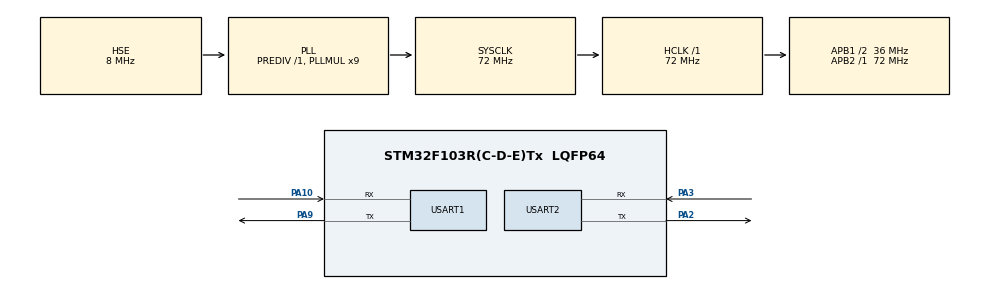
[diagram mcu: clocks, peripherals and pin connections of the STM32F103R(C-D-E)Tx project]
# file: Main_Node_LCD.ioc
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IWDG.Prescaler=IWDG_PRESCALER_256
IWDG.Reload=625
Mcu.Family=STM32F1
Mcu.Name=STM32F103R(C-D-E)Tx
Mcu.Package=LQFP64
NVIC.PriorityGroup=NVIC_PRIORITYGROUP_4
NVIC.RTC_Alarm_IRQn=true\:0\:0\:false\:false\:true\:true\:true\:true
NVIC.RTC_IRQn=true\:0\:0\:false\:false\:true\:true\:true\:true
NVIC.USART1_IRQn=true\:0\:0\:false\:false\:true\:true\:true\:true
NVIC.USART2_IRQn=true\:0\:0\:false\:false\:true\:true\:true\:true
PA10.Mode=Asynchronous
PA10.Signal=USART1_RX
PA13.Mode=Serial_Wire
PA13.Signal=SYS_JTMS-SWDIO
PA14.Mode=Serial_Wire
PA14.Signal=SYS_JTCK-SWCLK
PA2.Mode=Asynchronous
PA2.Signal=USART2_TX
PA3.Mode=Asynchronous
PA3.Signal=USART2_RX
PA9.Mode=Asynchronous
PA9.Signal=USART1_TX
PC14-OSC32_IN.Mode=LSE-External-Oscillator
PC14-OSC32_IN.Signal=RCC_OSC32_IN
PC15-OSC32_OUT.Mode=LSE-External-Oscillator
PC15-OSC32_OUT.Signal=RCC_OSC32_OUT
PD0-OSC_IN.Mode=HSE-External-Oscillator
PD0-OSC_IN.Signal=RCC_OSC_IN
PD1-OSC_OUT.Mode=HSE-External-Oscillator
PD1-OSC_OUT.Signal=RCC_OSC_OUT
ProjectManager.HeapSize=0x200
ProjectManager.StackSize=0x400
ProjectManager.TargetToolchain=MDK-ARM V5.32
RCC.AHBFreq_Value=72000000
RCC.APB1CLKDivider=RCC_HCLK_DIV2
RCC.APB1Freq_Value=36000000
RCC.APB1TimFreq_Value=72000000
RCC.APB2Freq_Value=72000000
RCC.APB2TimFreq_Value=72000000
RCC.HCLKFreq_Value=72000000
RCC.PLLMUL=RCC_PLL_MUL9
RCC.PLLSourceVirtual=RCC_PLLSOURCE_HSE
RCC.RTCClockSelection=RCC_RTCCLKSOURCE_LSE
RCC.SYSCLKFreq_VALUE=72000000
RCC.SYSCLKSource=RCC_SYSCLKSOURCE_PLLCLK
RCC.USBFreq_Value=72000000
RTC.Date=7
RTC.Hours=20
RTC.Minutes=10
RTC.Month=RTC_MONTH_APRIL
RTC.Year=25
USART1.VirtualMode=VM_ASYNC
USART2.VirtualMode=VM_ASYNC
VP_IWDG_VS_IWDG.Mode=IWDG_Activate
VP_RTC_VS_RTC_Activate.Mode=RTC_Enabled
VP_RTC_VS_RTC_Calendar.Mode=RTC_Calendar
board=custom

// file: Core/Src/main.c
/* USER CODE BEGIN Header */
/**
 ******************************************************************************
 * @file           : main.c
 * @brief          : Main program body
 ******************************************************************************
 * @attention
 *
 * Copyright (c) 2025 STMicroelectronics.
 * All rights reserved.
 *
 * This software is licensed under terms that can be found in the LICENSE file
 * in the root directory of this software component.
 * If no LICENSE file comes with this software, it is provided AS-IS.
 *
 ******************************************************************************
 */
/* USER CODE END Header */
#include "main.h"
#include "iwdg.h"
#include "rtc.h"
#include "usart.h"
#include "gpio.h"

/* USER CODE BEGIN Includes */
#include "sys.h"
#include "delay.h"
#include "usart.h"
#include "lcd.h"
#include "DL_LN3X.h"
#include "string.h"
#include "stdio.h"
/* USER CODE END Includes */

/* USER CODE BEGIN PV */
DL_HandleTypeDef dl_module;
uint8_t chinese[][16] = {
    {0x00, 0x00, 0x3F, 0xF8, 0x21, 0x08, 0x21, 0x08, 0x2F, 0xE8, 0x21, 0x08, 0x21, 0x08, 0x3F, 0xF8},
    {0x20, 0x08, 0x27, 0xC8, 0x24, 0x48, 0x24, 0x48, 0x27, 0xC8, 0x40, 0x08, 0x40, 0x28, 0x80, 0x10}, /*"周",0*/

    {0x00, 0x40, 0x20, 0xA0, 0x11, 0x10, 0x12, 0x08, 0x85, 0xF6, 0x48, 0x00, 0x47, 0xC4, 0x14, 0x54},
    {0x14, 0x54, 0x27, 0xD4, 0xE4, 0x54, 0x24, 0x54, 0x27, 0xD4, 0x24, 0x44, 0x25, 0x54, 0x04, 0x88}, /*"渝",1*/

    {0x01, 0x10, 0x01, 0x10, 0xF9, 0x10, 0x21, 0x10, 0x27, 0xBC, 0x21, 0x10, 0x21, 0x10, 0xFB, 0x38},
    {0x23, 0xB8, 0x25, 0x54, 0x25, 0x54, 0x39, 0x92, 0xE1, 0x10, 0x41, 0x10, 0x01, 0x10, 0x01, 0x10}, /*"琳",2*/

    {0x20, 0x80, 0x20, 0x88, 0x20, 0xB0, 0x3E, 0xC0, 0x20, 0x80, 0x20, 0x84, 0x26, 0x84, 0x38, 0x7C},
    {0x21, 0x00, 0x01, 0x00, 0xFF, 0xFE, 0x01, 0x00, 0x01, 0x00, 0x01, 0x00, 0x01, 0x00, 0x01, 0x00}, /*"毕",3*/

    {0x04, 0x40, 0x04, 0x40, 0x04, 0x40, 0x04, 0x40, 0x44, 0x44, 0x24, 0x44, 0x24, 0x48, 0x14, 0x48},
    {0x14, 0x50, 0x14, 0x60, 0x04, 0x40, 0x04, 0x40, 0x04, 0x40, 0x04, 0x40, 0xFF, 0xFE, 0x00, 0x00}, /*"业",4*/

    {0x00, 0x00, 0x21, 0xF0, 0x11, 0x10, 0x11, 0x10, 0x01, 0x10, 0x02, 0x0E, 0xF4, 0x00, 0x13, 0xF8},
    {0x11, 0x08, 0x11, 0x10, 0x10, 0x90, 0x14, 0xA0, 0x18, 0x40, 0x10, 0xA0, 0x03, 0x18, 0x0C, 0x06}, /*"设",5*/

    {0x00, 0x40, 0x20, 0x40, 0x10, 0x40, 0x10, 0x40, 0x00, 0x40, 0x00, 0x40, 0xF7, 0xFE, 0x10, 0x40},
    {0x10, 0x40, 0x10, 0x40, 0x10, 0x40, 0x10, 0x40, 0x14, 0x40, 0x18, 0x40, 0x10, 0x40, 0x00, 0x40}, /*"计",6*/
};

RTC_TimeTypeDef currTime;
RTC_DateTypeDef currDate;
char timeBuff[20];
char dateBuff[20];
/* USER CODE END PV */

void SystemClock_Config(void);
/* USER CODE BEGIN PFP */
/**
 * @Model_Name:HAL_UART_RxCpltCallback
 * @Code_Description:接收完成回调
 * @param:*huart 串口标识
 * @param:
 * @Author:Julian Zyan
 * @E-Mail:zhouyulin_mail@qq.com
 * @Creat_Time:2025/03/23 21:08:36
 */

void HAL_UART_RxCpltCallback(UART_HandleTypeDef *huart)
{
  if (huart == dl_module.huart)
  {
    DL_UART_RxCpltCallback(&dl_module);
  }
}
/* USER CODE END PFP */

int main(void)
{
  /* USER CODE BEGIN 1 */
  char lcd_show_addr_1_buffer[24];
  char lcd_show_addr_2_buffer[24];
  char lcd_show_pitch_1_buffer[24];
  char lcd_show_roll_1_buffer[24];
  char lcd_show_range_1_buffer[24];
  char lcd_show_pitch_2_buffer[24];
  char lcd_show_roll_2_buffer[24];
  char lcd_show_range_2_buffer[24];
  char weekdayBuff[24];
  // 将星期几转换为字符串
  const char *weekdays[] = {"Monday", "Tuesday", "Wednesday", "Thursday", "Friday", "Saturday", "Sunday"};
  /* USER CODE END 1 */

  /* MCU Configuration--------------------------------------------------------*/

  /* Reset of all peripherals, Initializes the Flash interface and the Systick. */
  HAL_Init();

  /* Configure the system clock */
  SystemClock_Config();

  /* Initialize all configured peripherals */
  MX_GPIO_Init();
  MX_USART1_UART_Init();
  MX_USART2_UART_Init();
  MX_IWDG_Init();
  MX_RTC_Init();
  /* USER CODE BEGIN 2 */

  DL_Init(&dl_module, &huart2, 0x2003);

  /* USER CODE END 2 */

  /* Infinite loop */
  /* USER CODE BEGIN WHILE */
  while (1)
  {
    // 喂狗 4s以内
    HAL_IWDG_Refresh(&hiwdg);

    LCD_Init();//ID 9341

    // 获取RTC时间
    HAL_RTC_GetDate(&hrtc, &currDate, RTC_FORMAT_BIN);
    HAL_RTC_GetTime(&hrtc, &currTime, RTC_FORMAT_BIN);

    LCD_Clear(WHITE);
    POINT_COLOR = BLACK;

    LCD_ShowString(10, 10, 300, 36, 24, (uint8_t *)"SMR BY Zhou");

    sprintf(lcd_show_addr_1_buffer, "Addr_1: %04x", DL_LN3X_Get_Addr_1());
    sprintf(lcd_show_addr_2_buffer, "Addr_2: %04x", DL_LN3X_Get_Addr_2());

    sprintf(lcd_show_pitch_1_buffer, "Pitch_1: %.2f", DL_LN3X_Get_Pitch_1());
    sprintf(lcd_show_roll_1_buffer, "Roll_1: %.2f", DL_LN3X_Get_Roll_1());
    sprintf(lcd_show_range_1_buffer, "Range_1: %d", DL_LN3X_Get_Range_1());

    sprintf(lcd_show_pitch_2_buffer, "Pitch_2: %.2f", DL_LN3X_Get_Pitch_2());
    sprintf(lcd_show_roll_2_buffer, "Roll_2: %.2f", DL_LN3X_Get_Roll_2());
    sprintf(lcd_show_range_2_buffer, "Range_2: %d", DL_LN3X_Get_Range_2());

    // 格式化时间字符串
    sprintf(dateBuff, "%04d/%02d/%02d",
            currDate.Year + 2000,
            currDate.Month,
            currDate.Date);

    sprintf(timeBuff, "%02d:%02d:%02d",
            currTime.Hours,
            currTime.Minutes,
            currTime.Seconds);

    if (currDate.WeekDay >= 1 && currDate.WeekDay <= 7)
    {
      strcpy(weekdayBuff, weekdays[currDate.WeekDay - 1]);
    }
    else
    {
      strcpy(weekdayBuff, "N/A");
    }

    LCD_ShowString(10, 50, 100, 12, 12, (uint8_t *)lcd_show_addr_1_buffer);
    LCD_ShowString(130, 50, 100, 12, 12, (uint8_t *)lcd_show_addr_2_buffer);

    LCD_ShowString(10, 80, 100, 16, 12, (uint8_t *)lcd_show_pitch_1_buffer);
    LCD_ShowString(10, 110, 100, 16, 12, (uint8_t *)lcd_show_roll_1_buffer);
    LCD_ShowString(10, 140, 100, 16, 12, (uint8_t *)lcd_show_range_1_buffer);

    LCD_ShowString(130, 80, 100, 16, 12, (uint8_t *)lcd_show_pitch_2_buffer);
    LCD_ShowString(130, 110, 100, 16, 12, (uint8_t *)lcd_show_roll_2_buffer);
    LCD_ShowString(130, 140, 100, 16, 12, (uint8_t *)lcd_show_range_2_buffer);

    LCD_ShowString(10, 170, 120, 16, 16, (uint8_t *)dateBuff);
    LCD_ShowString(130, 170, 100, 16, 16, (uint8_t *)timeBuff);
    LCD_ShowString(10, 200, 100, 16, 16, (uint8_t *)weekdayBuff);

    LCD_ShowChinese(10, 230, chinese[0], chinese[1], BLACK, WHITE);
    LCD_ShowChinese(26, 230, chinese[2], chinese[3], BLACK, WHITE);
    LCD_ShowChinese(42, 230, chinese[4], chinese[5], BLACK, WHITE);
    LCD_ShowChinese(58, 230, chinese[6], chinese[7], BLACK, WHITE);
    LCD_ShowChinese(74, 230, chinese[8], chinese[9], BLACK, WHITE);
    LCD_ShowChinese(90, 230, chinese[10], chinese[11], BLACK, WHITE);
    LCD_ShowChinese(106, 230, chinese[12], chinese[13], BLACK, WHITE);

    DL_CheckTimeout(5000);

    HAL_Delay(500);
    /* USER CODE END WHILE */

  }
}

void SystemClock_Config(void)
{
  RCC_OscInitTypeDef RCC_OscInitStruct = {0};
  RCC_ClkInitTypeDef RCC_ClkInitStruct = {0};
  RCC_PeriphCLKInitTypeDef PeriphClkInit = {0};

  /** Initializes the RCC Oscillators according to the specified parameters
   * in the RCC_OscInitTypeDef structure.
   */
  RCC_OscInitStruct.OscillatorType = RCC_OSCILLATORTYPE_LSI | RCC_OSCILLATORTYPE_HSE | RCC_OSCILLATORTYPE_LSE;
  RCC_OscInitStruct.HSEState = RCC_HSE_ON;
  RCC_OscInitStruct.HSEPredivValue = RCC_HSE_PREDIV_DIV1;
  RCC_OscInitStruct.LSEState = RCC_LSE_ON;
  RCC_OscInitStruct.HSIState = RCC_HSI_ON;
  RCC_OscInitStruct.LSIState = RCC_LSI_ON;
  RCC_OscInitStruct.PLL.PLLState = RCC_PLL_ON;
  RCC_OscInitStruct.PLL.PLLSource = RCC_PLLSOURCE_HSE;
  RCC_OscInitStruct.PLL.PLLMUL = RCC_PLL_MUL9;
  if (HAL_RCC_OscConfig(&RCC_OscInitStruct) != HAL_OK)
  {
    Error_Handler();
  }

  /** Initializes the CPU, AHB and APB buses clocks
   */
  RCC_ClkInitStruct.ClockType = RCC_CLOCKTYPE_HCLK | RCC_CLOCKTYPE_SYSCLK | RCC_CLOCKTYPE_PCLK1 | RCC_CLOCKTYPE_PCLK2;
  RCC_ClkInitStruct.SYSCLKSource = RCC_SYSCLKSOURCE_PLLCLK;
  RCC_ClkInitStruct.AHBCLKDivider = RCC_SYSCLK_DIV1;
  RCC_ClkInitStruct.APB1CLKDivider = RCC_HCLK_DIV2;
  RCC_ClkInitStruct.APB2CLKDivider = RCC_HCLK_DIV1;

  if (HAL_RCC_ClockConfig(&RCC_ClkInitStruct, FLASH_LATENCY_2) != HAL_OK)
  {
    Error_Handler();
  }
  PeriphClkInit.PeriphClockSelection = RCC_PERIPHCLK_RTC;
  PeriphClkInit.RTCClockSelection = RCC_RTCCLKSOURCE_LSE;
  if (HAL_RCCEx_PeriphCLKConfig(&PeriphClkInit) != HAL_OK)
  {
    Error_Handler();
  }
}

void Error_Handler(void)
{
  __disable_irq();
  while (1)
  {
  }
}
